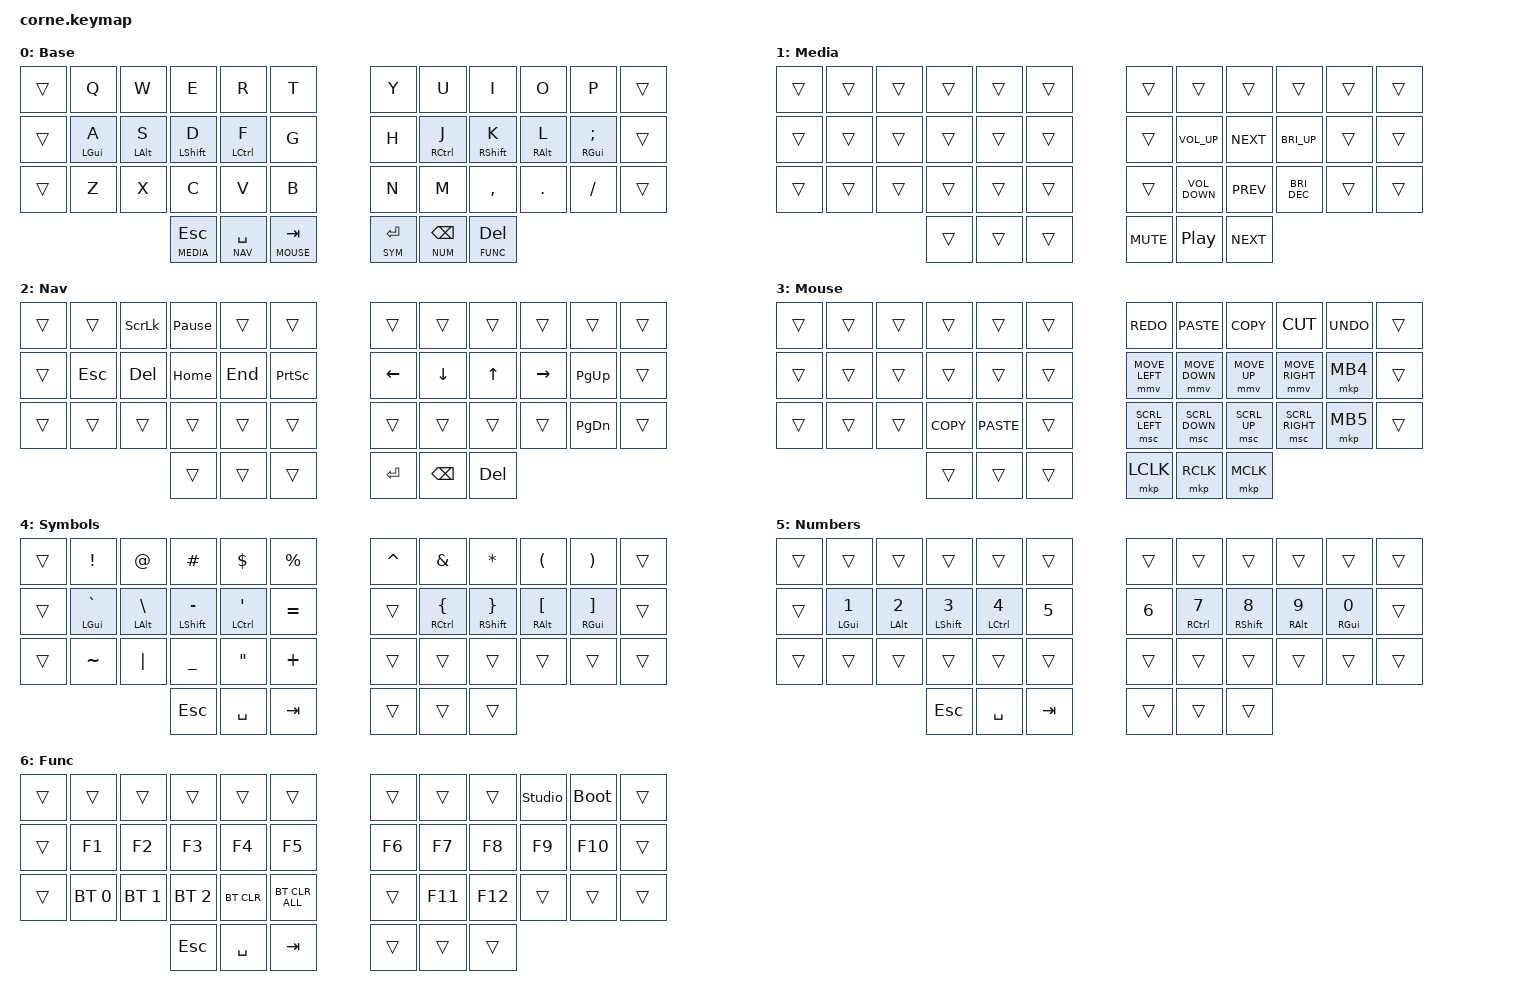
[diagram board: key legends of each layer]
#include <behaviors.dtsi>
#include <dt-bindings/zmk/bt.h>
#include <dt-bindings/zmk/keys.h>
#include <dt-bindings/zmk/pointing.h>

#define DEF 0
#define MEDIA 1
#define NAV 2
#define MOUSE 3
#define SYM 4
#define NUM 5
#define FUNC 6

/ {
    behaviors {
        hm: homerow_mods {
            compatible = "zmk,behavior-hold-tap";
            #binding-cells = <2>;
            tapping-term-ms = <200>;
            flavor = "tap-preferred";
            bindings = <&kp>, <&kp>;

            quick-tap-ms = <180>;
            require-prior-idle-ms = <120>; /* tune to taste */
        };

        th: thumb_layer {
            compatible = "zmk,behavior-hold-tap";
            #binding-cells = <2>;
            flavor = "tap-preferred";
            tapping-term-ms = <250>;
            quick-tap-ms = <200>;
            bindings = <&mo>, <&kp>;
        };

        para: para {
            compatible = "zmk,behavior-tap-dance";
            #binding-cells = <0>;
            bindings = <&kp LEFT_PARENTHESIS>, <&kp RIGHT_PARENTHESIS>;
        };

        caps: caps {
            compatible = "zmk,behavior-caps-word";
            #binding-cells = <0>;
            continue-list = <MINUS BACKSPACE>;
        };

        paraless: paraless {
            compatible = "zmk,behavior-mod-morph";
            bindings = <&kp LEFT_PARENTHESIS>, <&kp LESS_THAN>;

            #binding-cells = <0>;
            mods = <(MOD_LSFT)>;
        };

        paragreat: paragreat {
            compatible = "zmk,behavior-mod-morph";
            bindings = <&kp RIGHT_PARENTHESIS>, <&kp GREATER_THAN>;

            #binding-cells = <0>;
            mods = <(MOD_LSFT)>;
        };
    };

    combos {
        compatible = "zmk,combos";

        plus {
            bindings = <&kp PLUS>;
            key-positions = <7 19>;
            layers = <0>;
        };

        para-less {
            bindings = <&paraless>;
            key-positions = <20 19>;
            layers = <0>;
        };

        para-great {
            bindings = <&paragreat>;
            key-positions = <20 21>;
            layers = <0>;
        };
    };

    //

    keymap {
        compatible = "zmk,keymap";

        DEF {
            display-name = "Base";

            // -----------------------------------------------------------------------------------------
            // |  Q  |  W  |  E  |  R  |  T  |   |  Y  |  U   |  I  |  O  |  P  |
            // |  A  |  S  |  D  |  F  |  G  |   |  H  |  J   |  K  |  L  |  ;  |
            // |  Z  |  X  |  C  |  V  |  B  |   |  N  |  M   |  ,  |  .  |  /  |
            // | GUI | CTRL | SHFT | LWR | SPC |   | ENT | RSE  | BKSP | ALT | ESC |

            bindings = <
&trans  &kp Q       &kp W       &kp E          &kp R          &kp T            &kp Y          &kp U              &kp I            &kp O       &kp P          &trans
&trans  &hm LGUI A  &hm LALT S  &hm LSHIFT D   &hm LCTRL F    &kp G            &kp H          &hm RCTRL J        &hm RSHIFT K     &hm RALT L  &hm RGUI SEMI  &trans
&trans  &kp Z       &kp X       &kp C          &kp V          &kp B            &kp N          &kp M              &kp COMMA        &kp DOT     &kp FSLH       &trans
                                &lt MEDIA ESC  &lt NAV SPACE  &lt MOUSE TAB    &lt SYM ENTER  &lt NUM BACKSPACE  &lt FUNC DELETE
            >;
        };

        MEDIA {
            bindings = <
&trans  &trans  &trans  &trans  &trans  &trans    &trans      &trans             &trans      &trans         &trans  &trans
&trans  &trans  &trans  &trans  &trans  &trans    &trans      &kp C_VOLUME_UP    &kp C_NEXT  &kp C_BRI_UP   &trans  &trans
&trans  &trans  &trans  &trans  &trans  &trans    &trans      &kp C_VOLUME_DOWN  &kp C_PREV  &kp C_BRI_DEC  &trans  &trans
                        &trans  &trans  &trans    &kp C_MUTE  &kp C_PP           &kp C_NEXT
            >;

            label = "Media";
        };

        NAV {
            bindings = <
&trans  &trans   &kp SCROLLLOCK  &kp PAUSE_BREAK  &trans   &trans             &trans          &trans          &trans        &trans           &trans         &trans
&trans  &kp ESC  &kp DELETE      &kp HOME         &kp END  &kp PRINTSCREEN    &kp LEFT_ARROW  &kp DOWN_ARROW  &kp UP_ARROW  &kp RIGHT_ARROW  &kp PAGE_UP    &trans
&trans  &trans   &trans          &trans           &trans   &trans             &trans          &trans          &trans        &trans           &kp PAGE_DOWN  &trans
                                 &trans           &trans   &trans             &kp ENTER       &kp BACKSPACE   &kp DELETE
            >;

            label = "Nav";
        };

        MOUSE {
            bindings = <
&trans  &trans  &trans  &trans      &trans       &trans    &kp K_REDO      &kp K_PASTE     &kp K_COPY    &kp K_CUT        &kp K_UNDO  &trans
&trans  &trans  &trans  &trans      &trans       &trans    &mmv MOVE_LEFT  &mmv MOVE_DOWN  &mmv MOVE_UP  &mmv MOVE_RIGHT  &mkp MB4    &trans
&trans  &trans  &trans  &kp K_COPY  &kp K_PASTE  &trans    &msc SCRL_LEFT  &msc SCRL_DOWN  &msc SCRL_UP  &msc SCRL_RIGHT  &mkp MB5    &trans
                        &trans      &trans       &trans    &mkp LCLK       &mkp RCLK       &mkp MCLK
            >;

            label = "Mouse";
        };

        SYM {
            display-name = "Symbols";

            // -----------------------------------------------------------------------------------------
            // |  TAB |  !  |  @  |  #  |  $  |  %  |   |  ^  |  &  |  *  |  (  |  )  | BKSP |
            // | CTRL |     |     |     |     |     |   |  -  |  =  |  [  |  ]  |  \  |  `   |
            // | SHFT |     |     |     |     |     |   |  _  |  +  |  {  |  }  | "|" |  ~   |
            //                    | GUI |     | SPC |   | ENT |     | ALT |

            bindings = <
&trans  &kp EXCL        &kp AT              &kp HASH          &kp DLLR              &kp PRCNT    &kp CARET  &kp AMPS              &kp ASTRK               &kp LEFT_PARENTHESIS   &kp RPAR                &trans
&trans  &hm LGUI GRAVE  &hm LALT BACKSLASH  &hm LSHIFT MINUS  &hm LEFT_CONTROL SQT  &kp EQUAL    &trans     &hm RCTRL LEFT_BRACE  &hm RSHIFT RIGHT_BRACE  &hm RALT LEFT_BRACKET  &hm RGUI RIGHT_BRACKET  &trans
&trans  &kp TILDE       &kp PIPE            &kp UNDERSCORE    &kp DOUBLE_QUOTES     &kp PLUS     &trans     &trans                &trans                  &trans                 &trans                  &trans
                                            &kp ESC           &kp SPACE             &kp TAB      &trans     &trans                &trans
            >;
        };

        NUM {
            bindings = <
&trans  &trans             &trans             &trans               &trans                     &trans          &trans        &trans                      &trans               &trans             &trans             &trans
&trans  &hm LGUI NUMBER_1  &hm LALT NUMBER_2  &hm LSHIFT NUMBER_3  &hm LEFT_CONTROL NUMBER_4  &kp NUMBER_5    &kp NUMBER_6  &hm RIGHT_CONTROL NUMBER_7  &hm RSHIFT NUMBER_8  &hm RALT NUMBER_9  &hm RGUI NUMBER_0  &trans
&trans  &trans             &trans             &trans               &trans                     &trans          &trans        &trans                      &trans               &trans             &trans             &trans
                                              &kp ESC              &kp SPACE                  &kp TAB         &trans        &trans                      &trans
            >;

            label = "Numbers";
        };

        FUNC {
            display-name = "Func";
            bindings = <
&trans  &trans        &trans        &trans        &trans      &trans            &trans  &trans   &trans   &studio_unlock  &bootloader  &trans
&trans  &kp F1        &kp F2        &kp F3        &kp F4      &kp F5            &kp F6  &kp F7   &kp F8   &kp F9          &kp F10      &trans
&trans  &bt BT_SEL 0  &bt BT_SEL 1  &bt BT_SEL 2  &bt BT_CLR  &bt BT_CLR_ALL    &trans  &kp F11  &kp F12  &trans          &trans       &trans
                                    &kp ESC       &kp SPACE   &kp TAB           &trans  &trans   &trans
            >;
        };
    };
};
